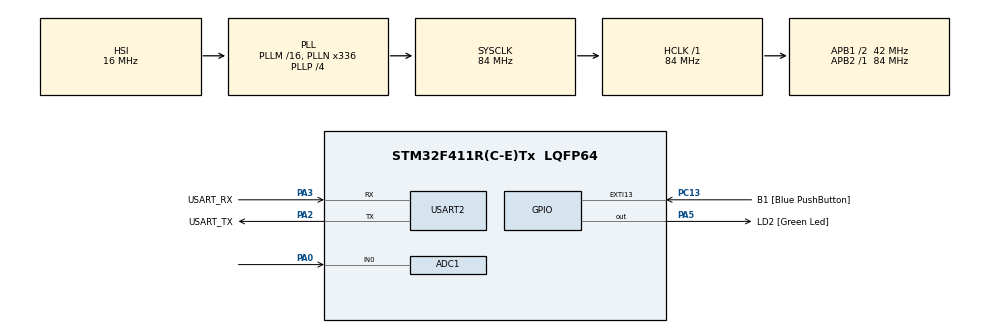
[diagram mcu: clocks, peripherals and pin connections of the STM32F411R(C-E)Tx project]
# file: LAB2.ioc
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ADC1.Channel-8\#ChannelRegularConversion=ADC_CHANNEL_0
ADC1.Channel-9\#ChannelRegularConversion=ADC_CHANNEL_TEMPSENSOR
ADC1.ContinuousConvMode=ENABLE
ADC1.DMAContinuousRequests=ENABLE
ADC1.EOCSelection=ADC_EOC_SEQ_CONV
ADC1.NbrOfConversion=2
ADC1.NbrOfConversionFlag=1
ADC1.Rank-8\#ChannelRegularConversion=1
ADC1.Rank-9\#ChannelRegularConversion=2
ADC1.SamplingTime-8\#ChannelRegularConversion=ADC_SAMPLETIME_56CYCLES
ADC1.SamplingTime-9\#ChannelRegularConversion=ADC_SAMPLETIME_56CYCLES
ADC1.ScanConvMode=ENABLE
ADC1.master=1
Dma.ADC1.0.Direction=DMA_PERIPH_TO_MEMORY
Dma.ADC1.0.FIFOMode=DMA_FIFOMODE_DISABLE
Dma.ADC1.0.Instance=DMA2_Stream0
Dma.ADC1.0.MemDataAlignment=DMA_MDATAALIGN_HALFWORD
Dma.ADC1.0.MemInc=DMA_MINC_ENABLE
Dma.ADC1.0.Mode=DMA_CIRCULAR
Dma.ADC1.0.PeriphDataAlignment=DMA_PDATAALIGN_HALFWORD
Dma.ADC1.0.PeriphInc=DMA_PINC_DISABLE
Dma.ADC1.0.Priority=DMA_PRIORITY_LOW
Dma.Request0=ADC1
Mcu.Family=STM32F4
Mcu.Name=STM32F411R(C-E)Tx
Mcu.Package=LQFP64
NVIC.ADC_IRQn=true\:0\:0\:false\:false\:true\:true\:true\:true
NVIC.DMA2_Stream0_IRQn=true\:0\:0\:false\:false\:true\:false\:true\:true
NVIC.PriorityGroup=NVIC_PRIORITYGROUP_0
PA0-WKUP.Signal=ADCx_IN0
PA13.GPIO_Label=TMS
PA13.Mode=Serial_Wire
PA13.Signal=SYS_JTMS-SWDIO
PA14.GPIO_Label=TCK
PA14.Mode=Serial_Wire
PA14.Signal=SYS_JTCK-SWCLK
PA2.GPIO_Label=USART_TX
PA2.Mode=Asynchronous
PA2.Signal=USART2_TX
PA3.GPIO_Label=USART_RX
PA3.Mode=Asynchronous
PA3.Signal=USART2_RX
PA5.GPIO_Label=LD2 [Green Led]
PA5.Signal=GPIO_Output
PB3.GPIO_Label=SWO
PB3.Signal=SYS_JTDO-SWO
PC13-ANTI_TAMP.GPIO_Label=B1 [Blue PushButton]
PC13-ANTI_TAMP.GPIO_ModeDefaultEXTI=GPIO_MODE_IT_FALLING
PC13-ANTI_TAMP.Signal=GPXTI13
PC14-OSC32_IN.Mode=LSE-External-Oscillator
PC14-OSC32_IN.Signal=RCC_OSC32_IN
PC15-OSC32_OUT.Mode=LSE-External-Oscillator
PC15-OSC32_OUT.Signal=RCC_OSC32_OUT
PH0\ -\ OSC_IN.Mode=HSE-External-Clock-Source
PH0\ -\ OSC_IN.Signal=RCC_OSC_IN
PH1\ -\ OSC_OUT.Mode=HSE-External-Clock-Source
PH1\ -\ OSC_OUT.Signal=RCC_OSC_OUT
ProjectManager.HeapSize=0x200
ProjectManager.StackSize=0x400
ProjectManager.TargetToolchain=STM32CubeIDE
RCC.48MHZClocksFreq_Value=84000000
RCC.AHBFreq_Value=84000000
RCC.APB1CLKDivider=RCC_HCLK_DIV2
RCC.APB1Freq_Value=42000000
RCC.APB1TimFreq_Value=84000000
RCC.APB2Freq_Value=84000000
RCC.APB2TimFreq_Value=84000000
RCC.CortexFreq_Value=84000000
RCC.FLatency-AdvancedSettings=FLASH_LATENCY_2
RCC.HCLKFreq_Value=84000000
RCC.HSE_VALUE=8000000
RCC.HSI_VALUE=16000000
RCC.PLLN=336
RCC.PLLP=RCC_PLLP_DIV4
RCC.SYSCLKFreq_VALUE=84000000
RCC.SYSCLKSource=RCC_SYSCLKSOURCE_PLLCLK
RCC.VCOOutputFreq_Value=336000000
SH.ADCx_IN0.0=ADC1_IN0,IN0
USART2.VirtualMode=VM_ASYNC
VP_ADC1_TempSens_Input.Mode=IN-TempSens
board=NUCLEO-F411RE

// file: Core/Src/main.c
/* USER CODE BEGIN Header */
/**
  ******************************************************************************
  * @file           : main.c
  * @brief          : Main program body
  ******************************************************************************
  * @attention
  *
  * Copyright (c) 2023 STMicroelectronics.
  * All rights reserved.
  *
  * This software is licensed under terms that can be found in the LICENSE file
  * in the root directory of this software component.
  * If no LICENSE file comes with this software, it is provided AS-IS.
  *
  ******************************************************************************
  */
/* USER CODE END Header */
#include "main.h"

ADC_HandleTypeDef hadc1;
DMA_HandleTypeDef hdma_adc1;

UART_HandleTypeDef huart2;

/* USER CODE BEGIN PV */
typedef struct
{
	uint16_t A0;
	uint16_t Tempsensor;
}DMABuffer;
DMABuffer Buffer[10];

uint16_t AvgVoltage = 0;
uint16_t sumVoltage = 0;
uint16_t Voltage = 0;

uint16_t AvgTemp = 0;
uint16_t sumTemp = 0;
uint16_t Temp = 0;

/* USER CODE END PV */

void SystemClock_Config(void);
static void MX_GPIO_Init(void);
static void MX_DMA_Init(void);
static void MX_USART2_UART_Init(void);
static void MX_ADC1_Init(void);

int main(void)
{

  /* MCU Configuration--------------------------------------------------------*/

  /* Reset of all peripherals, Initializes the Flash interface and the Systick. */
  HAL_Init();

  /* Configure the system clock */
  SystemClock_Config();

  /* Initialize all configured peripherals */
  MX_GPIO_Init();
  MX_DMA_Init();
  MX_USART2_UART_Init();
  MX_ADC1_Init();
  /* USER CODE BEGIN 2 */
  HAL_ADC_Start_DMA(&hadc1, Buffer, 20);
  /* USER CODE END 2 */

  /* Infinite loop */
  while (1)
  {

    /* USER CODE BEGIN 3 */
	  static uint32_t timestamp=0;
	 	  if(HAL_GetTick()>=timestamp)
	 	  {
	 		  int i =0;
	 		  timestamp = HAL_GetTick()+1000;
	 		  for(i=0;i<10;i++)
	 		  {
	 			  sumVoltage += Buffer[i].A0;
	 			  sumTemp += Buffer[i].Tempsensor;
	 		  }
	 		  AvgVoltage = sumVoltage/10;
	 		  AvgTemp = sumTemp/10;
	 		  sumVoltage = 0;
	 		  sumTemp = 0;
	 		 AvgVoltage = ((AvgVoltage*3.3*1000)/4096)*2;
	 		 AvgTemp = (((((AvgTemp*3.3*1000)/4096)-760)/2.5)+25)+273.15;///273.5
	 	  }

  }
  /* USER CODE END 3 */
}

void SystemClock_Config(void)
{
  RCC_OscInitTypeDef RCC_OscInitStruct = {0};
  RCC_ClkInitTypeDef RCC_ClkInitStruct = {0};

  /** Configure the main internal regulator output voltage
  */
  __HAL_RCC_PWR_CLK_ENABLE();
  __HAL_PWR_VOLTAGESCALING_CONFIG(PWR_REGULATOR_VOLTAGE_SCALE1);

  /** Initializes the RCC Oscillators according to the specified parameters
  * in the RCC_OscInitTypeDef structure.
  */
  RCC_OscInitStruct.OscillatorType = RCC_OSCILLATORTYPE_HSI;
  RCC_OscInitStruct.HSIState = RCC_HSI_ON;
  RCC_OscInitStruct.HSICalibrationValue = RCC_HSICALIBRATION_DEFAULT;
  RCC_OscInitStruct.PLL.PLLState = RCC_PLL_ON;
  RCC_OscInitStruct.PLL.PLLSource = RCC_PLLSOURCE_HSI;
  RCC_OscInitStruct.PLL.PLLM = 16;
  RCC_OscInitStruct.PLL.PLLN = 336;
  RCC_OscInitStruct.PLL.PLLP = RCC_PLLP_DIV4;
  RCC_OscInitStruct.PLL.PLLQ = 4;
  if (HAL_RCC_OscConfig(&RCC_OscInitStruct) != HAL_OK)
  {
    Error_Handler();
  }

  /** Initializes the CPU, AHB and APB buses clocks
  */
  RCC_ClkInitStruct.ClockType = RCC_CLOCKTYPE_HCLK|RCC_CLOCKTYPE_SYSCLK
                              |RCC_CLOCKTYPE_PCLK1|RCC_CLOCKTYPE_PCLK2;
  RCC_ClkInitStruct.SYSCLKSource = RCC_SYSCLKSOURCE_PLLCLK;
  RCC_ClkInitStruct.AHBCLKDivider = RCC_SYSCLK_DIV1;
  RCC_ClkInitStruct.APB1CLKDivider = RCC_HCLK_DIV2;
  RCC_ClkInitStruct.APB2CLKDivider = RCC_HCLK_DIV1;

  if (HAL_RCC_ClockConfig(&RCC_ClkInitStruct, FLASH_LATENCY_2) != HAL_OK)
  {
    Error_Handler();
  }
}

static void MX_ADC1_Init(void)
{

  ADC_ChannelConfTypeDef sConfig = {0};

  /** Configure the global features of the ADC (Clock, Resolution, Data Alignment and number of conversion)
  */
  hadc1.Instance = ADC1;
  hadc1.Init.ClockPrescaler = ADC_CLOCK_SYNC_PCLK_DIV4;
  hadc1.Init.Resolution = ADC_RESOLUTION_12B;
  hadc1.Init.ScanConvMode = ENABLE;
  hadc1.Init.ContinuousConvMode = ENABLE;
  hadc1.Init.DiscontinuousConvMode = DISABLE;
  hadc1.Init.ExternalTrigConvEdge = ADC_EXTERNALTRIGCONVEDGE_NONE;
  hadc1.Init.ExternalTrigConv = ADC_SOFTWARE_START;
  hadc1.Init.DataAlign = ADC_DATAALIGN_RIGHT;
  hadc1.Init.NbrOfConversion = 2;
  hadc1.Init.DMAContinuousRequests = ENABLE;
  hadc1.Init.EOCSelection = ADC_EOC_SEQ_CONV;
  if (HAL_ADC_Init(&hadc1) != HAL_OK)
  {
    Error_Handler();
  }

  /** Configure for the selected ADC regular channel its corresponding rank in the sequencer and its sample time.
  */
  sConfig.Channel = ADC_CHANNEL_0;
  sConfig.Rank = 1;
  sConfig.SamplingTime = ADC_SAMPLETIME_56CYCLES;
  if (HAL_ADC_ConfigChannel(&hadc1, &sConfig) != HAL_OK)
  {
    Error_Handler();
  }

  /** Configure for the selected ADC regular channel its corresponding rank in the sequencer and its sample time.
  */
  sConfig.Channel = ADC_CHANNEL_TEMPSENSOR;
  sConfig.Rank = 2;
  if (HAL_ADC_ConfigChannel(&hadc1, &sConfig) != HAL_OK)
  {
    Error_Handler();
  }

}

static void MX_USART2_UART_Init(void)
{

  huart2.Instance = USART2;
  huart2.Init.BaudRate = 115200;
  huart2.Init.WordLength = UART_WORDLENGTH_8B;
  huart2.Init.StopBits = UART_STOPBITS_1;
  huart2.Init.Parity = UART_PARITY_NONE;
  huart2.Init.Mode = UART_MODE_TX_RX;
  huart2.Init.HwFlowCtl = UART_HWCONTROL_NONE;
  huart2.Init.OverSampling = UART_OVERSAMPLING_16;
  if (HAL_UART_Init(&huart2) != HAL_OK)
  {
    Error_Handler();
  }

}

static void MX_DMA_Init(void)
{

  /* DMA controller clock enable */
  __HAL_RCC_DMA2_CLK_ENABLE();

  /* DMA interrupt init */
  /* DMA2_Stream0_IRQn interrupt configuration */
  HAL_NVIC_SetPriority(DMA2_Stream0_IRQn, 0, 0);
  HAL_NVIC_EnableIRQ(DMA2_Stream0_IRQn);

}

static void MX_GPIO_Init(void)
{
  GPIO_InitTypeDef GPIO_InitStruct = {0};

  /* GPIO Ports Clock Enable */
  __HAL_RCC_GPIOC_CLK_ENABLE();
  __HAL_RCC_GPIOH_CLK_ENABLE();
  __HAL_RCC_GPIOA_CLK_ENABLE();
  __HAL_RCC_GPIOB_CLK_ENABLE();

  /*Configure GPIO pin Output Level */
  HAL_GPIO_WritePin(LD2_GPIO_Port, LD2_Pin, GPIO_PIN_RESET);

  /*Configure GPIO pin : B1_Pin */
  GPIO_InitStruct.Pin = B1_Pin;
  GPIO_InitStruct.Mode = GPIO_MODE_IT_FALLING;
  GPIO_InitStruct.Pull = GPIO_NOPULL;
  HAL_GPIO_Init(B1_GPIO_Port, &GPIO_InitStruct);

  /*Configure GPIO pin : LD2_Pin */
  GPIO_InitStruct.Pin = LD2_Pin;
  GPIO_InitStruct.Mode = GPIO_MODE_OUTPUT_PP;
  GPIO_InitStruct.Pull = GPIO_NOPULL;
  GPIO_InitStruct.Speed = GPIO_SPEED_FREQ_LOW;
  HAL_GPIO_Init(LD2_GPIO_Port, &GPIO_InitStruct);

}

void Error_Handler(void)
{
  __disable_irq();
  while (1)
  {
  }
}
